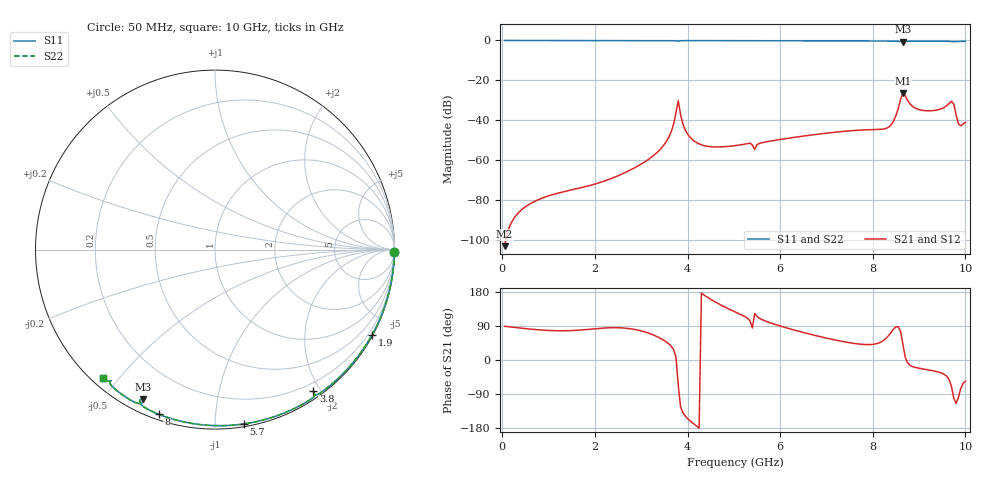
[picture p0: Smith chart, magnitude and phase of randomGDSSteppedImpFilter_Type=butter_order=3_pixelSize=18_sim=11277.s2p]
! freq	dB(S11)	phase(S11)	dB(S12)	phase(S12)
!  dB(S21)	phase(S21)	dB(S22)	phase(S22)
!S-par simulation data
#  GHz  S  DB  R 50
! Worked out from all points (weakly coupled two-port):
!   200 points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, 50 MHz to 10 GHz, reference 50 ohm
!   highest |S21| = -26.47 dB at 8.65 GHz (marker M1); lowest = -103.3 dB at 50 MHz (marker M2)
!   lowest |S11| = -0.7 dB at 8.65 GHz (marker M3), VSWR 25.46, Z = 2.74 - j31.3 ohm
!   |S11| at or under -10 dB: nowhere
!   |S22| runs from -0.7 to 0.0 dB; largest |S21 - S12| = 0
!   S11 on the Smith chart (normalised r, x): 50 MHz: open; 1.9 GHz: 0.03, -3.94; 3.8 GHz: 0.09, -1.91; 5.7 GHz: 0.02, -1.18; 8 GHz: 0.02, -0.71; 10 GHz: 0.03, -0.45
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0.05  -0.00 -0.8  -103.26 89.0  -103.26 89.0  -0.00 -0.8
0.75  -0.01 -11.3  -80.21 80.0  -80.21 80.0  -0.01 -11.3
1.75  -0.03 -26.3  -73.66 79.7  -73.66 79.7  -0.03 -26.3
1.9  -0.04 -28.5  -72.76 81.3  -72.76 81.3  -0.04 -28.5
3.4  -0.07 -50.1  -54.95 58.2  -54.95 58.2  -0.07 -50.1
3.65  -0.08 -53.8  -45.64 35.9  -45.64 35.9  -0.08 -53.8
3.8  -0.35 -55.2  -30.29 -67.4  -30.29 -67.4  -0.35 -55.2
3.95  -0.09 -57.3  -44.93 -147.9  -44.93 -147.9  -0.09 -57.3
4.15  -0.09 -60.2  -50.62 -170.2  -50.62 -170.2  -0.09 -60.2
5.05  -0.11 -72.3  -52.73 125.6  -52.73 125.6  -0.11 -72.3
5.35  -0.12 -76.2  -51.54 103.3  -51.54 103.3  -0.12 -76.2
5.45  -0.13 -77.5  -54.74 122.7  -54.74 122.7  -0.13 -77.5
5.7  -0.14 -80.7  -50.88 101.9  -50.88 101.9  -0.14 -80.7
6.7  -0.18 -93.2  -47.39 66.4  -47.39 66.4  -0.18 -93.2
8  -0.27 -108.9  -44.77 41.3  -44.77 41.3  -0.27 -108.9
8.35  -0.31 -113.2  -43.40 65.6  -43.40 65.6  -0.31 -113.2
8.5  -0.37 -115.3  -37.72 87.5  -37.72 87.5  -0.37 -115.3
8.65  -0.68 -115.7  -26.47 41.6  -26.47 41.6  -0.68 -115.7
9.05  -0.35 -120.5  -34.99 -22.7  -34.99 -22.7  -0.35 -120.5
9.7  -0.56 -128.7  -30.52 -70.4  -30.52 -70.4  -0.56 -128.7
9.85  -0.49 -129.1  -41.91 -98.5  -41.91 -98.5  -0.49 -129.1
10  -0.46 -131.1  -41.16 -56.1  -41.16 -56.1  -0.46 -131.1
